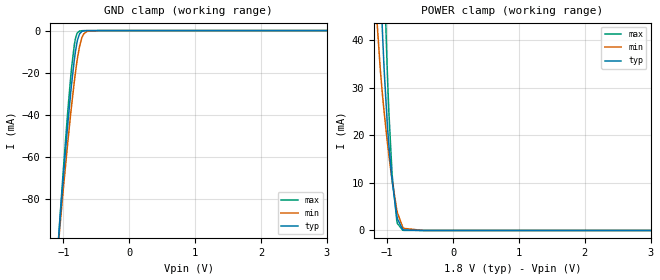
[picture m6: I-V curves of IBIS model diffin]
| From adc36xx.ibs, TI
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|   diffin Model
[Model]   diffin
Model_type   Input
Vinl = 0.54
Vinh = 1.26
|   typ   min   max
C_comp   7.9369E-13   7.44128E-13   8.54367E-13
| Where Nom  PVT is Nominal Process, 1.8V, 25C
|   Fast PVT is Strong Process,  1.9V, -40C
|   Slow PVT is Weak Process,   1.7V, 125C
[Voltage Range]   1.8   1.7   1.9
|Junction Temperature
[Temperature Range]   25   125   -40
[Power Clamp Reference]   1.8   1.7   1.9
[GND Clamp Reference]   0   0   0
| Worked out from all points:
|   GND clamp passes 1 mA (typ) near -0.74 V on its own axis
|   POWER clamp passes 1 mA (typ) near -0.79 V on its own axis
[GND Clamp]
|   Voltage   I(typ)   I(min)   I(max)
-1.8V     -428.5mA   -400.7mA   -447.5mA
-1.157V   -134.1mA   -131.2mA   -136.5mA
-1.055V   -90.61mA   -93.33mA   -89.45mA
-936mV    -44.94mA   -53.45mA   -38.93mA
-876.6mV  -25.34mA   -35.49mA   -17.71mA
-817.2mV  -9.778mA   -19.72mA   -3.696mA
-784.8mV  -4.282mA   -12.61mA   -919.1uA
-757.8mV  -1.744mA   -7.863mA   -258.5uA
-714.6mV  -324.8uA   -2.936mA   -50.01uA
-644.4mV  -26.93uA   -376.5uA   -18.37uA
-444.6mV  -1.261uA   -1.651uA   -2.988uA
3.6V      0A         0A         0A
[POWER Clamp]
|   Voltage   I(typ)   I(min)   I(max)
-1.8V     450.6mA    344.7mA    527.5mA
-1.174V   83.34mA    47.7mA     124.1mA
-1.103V   52.83mA    33.56mA    84.03mA
-1.076V   43.09mA    29.23mA    69.59mA
-1.071V   41.3mA     28.42mA    66.79mA
-1.044V   33.18mA    24.56mA    53.36mA
-1.001V   22.87mA    18.96mA    34.39mA
-973.8mV  17.79mA    15.74mA    24.62mA
-925.2mV  10.45mA    10.47mA    11.72mA
-855mV    3.143mA    4.414mA    2.122mA
-763.2mV  180.6uA    650.8uA    46.49uA
3.6V      0A         0A         0A
